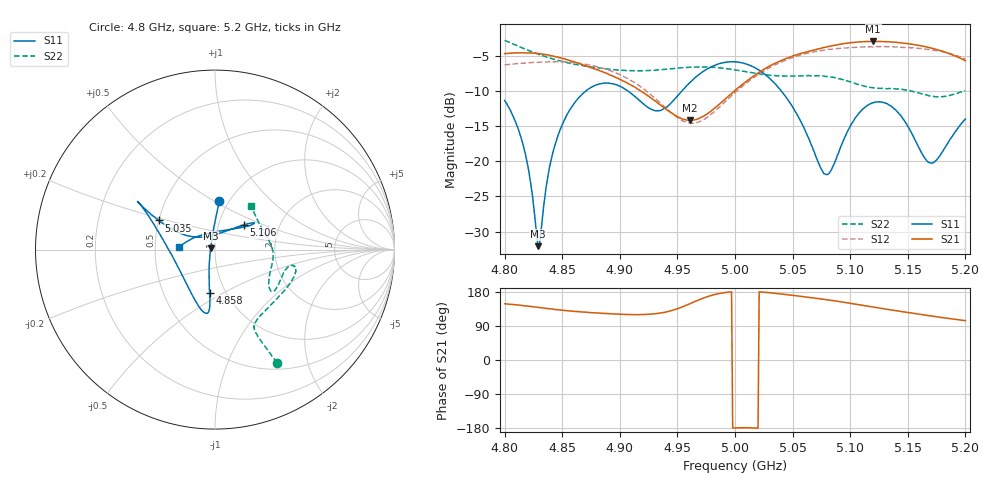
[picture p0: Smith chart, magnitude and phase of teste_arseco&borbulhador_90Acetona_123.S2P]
! Network Analyzer HP8722D
! Hewlett-Packard
! Data name: Linha & Wilkinson
! Saver's name: Rodrigo Anjos
! Comments: Teste da utilização de aquisição
! continua pelo VNA HP8722D
! Time and date: 17/4/2025 12:04
!  Frequency  S11  S21  S12  S22
# HZ  S  MA R 50
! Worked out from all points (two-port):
!   401 points, 4.8 GHz to 5.2 GHz, reference 50 ohm
!   highest |S21| = -2.99 dB at 5.12 GHz (marker M1); lowest = -14.2 dB at 4.961 GHz (marker M2)
!   |S21| within 3 dB of the highest: start of sweep to 4.862 GHz; 5.036 GHz to end of sweep
!   lowest |S11| = -32.1 dB at 4.829 GHz (marker M3), VSWR 1.05, Z = 47.7 + j0.783 ohm
!   |S11| at or under -10 dB: start of sweep to 4.871 GHz; 4.907 GHz to 4.954 GHz (47.36 MHz wide, 0.961 % of centre); 5.04 GHz to end of sweep
!   |S22| runs from -10.9 to -2.9 dB; largest |S21 - S12| = 1.3
!   S11 on the Smith chart (normalised r, x): 4.8 GHz: 0.91, +0.52; 4.858 GHz: 0.84, -0.43; 5.035 GHz: 0.50, +0.19; 5.106 GHz: 1.32, +0.38; 5.2 GHz: 0.67, +0.02
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4.8e9  0.2697 84.9  0.5803 148.4  0.4837 -112.9  0.7193 -61.3
4.817e9  0.1219 93.2  0.5883 143.5  0.4959 -112.3  0.628 -62.3
4.822e9  0.07555 101.3  0.5862 141.6  0.4997 -112.1  0.6058 -62.7
4.829e9  0.02494 160.8  0.5808 139.1  0.5042 -111.9  0.577 -63.1
4.831e9  0.02838 -157.2  0.579 138.0  0.5052 -111.6  0.5686 -63.3
4.837e9  0.07344 -115.3  0.5674 135.6  0.5058 -111.4  0.5468 -63.4
4.842e9  0.1162 -106.6  0.5576 134.4  0.5077 -111.2  0.5319 -63.7
4.858e9  0.2409 -97.1  0.513 129.0  0.5024 -111.2  0.4933 -63.7
4.867e9  0.2966 -95.4  0.4855 126.9  0.4926 -111.6  0.4784 -62.8
4.898e9  0.3467 -102.3  0.3894 121.2  0.4173 -114.7  0.4443 -53.8
4.934e9  0.2287 -156.5  0.2546 123.4  0.2645 -115.0  0.4447 -33.5
4.961e9  0.3628 158.1  0.1945 148.6  0.1868 -88.6  0.4647 -19.8
5e9  0.5077 148.2  0.3174 -179.4  0.3069 -49.7  0.4444 -11.5
5.035e9  0.3532 152.6  0.4967 176.0  0.4846 -46.4  0.4052 -18.1
5.067e9  0.1265 146.6  0.6117 164.3  0.5951 -50.1  0.4037 -31.9
5.076e9  0.08507 120.6  0.6374 160.6  0.6122 -51.9  0.4032 -34.7
5.081e9  0.08119 95.6  0.6511 158.5  0.6215 -52.9  0.399 -35.8
5.106e9  0.2105 40.7  0.6998 146.7  0.6436 -58.8  0.3518 -31.9
5.12e9  0.2598 34.9  0.7089 139.8  0.6468 -62.9  0.3317 -22.1
5.134e9  0.2502 33.8  0.7025 133.1  0.6477 -67.6  0.3283 -10.8
5.17e9  0.097 100.0  0.6362 116.5  0.618 -80.1  0.2903 20.2
5.2e9  0.1993 175.5  0.5161 103.8  0.5329 -89.9  0.3165 50.2
